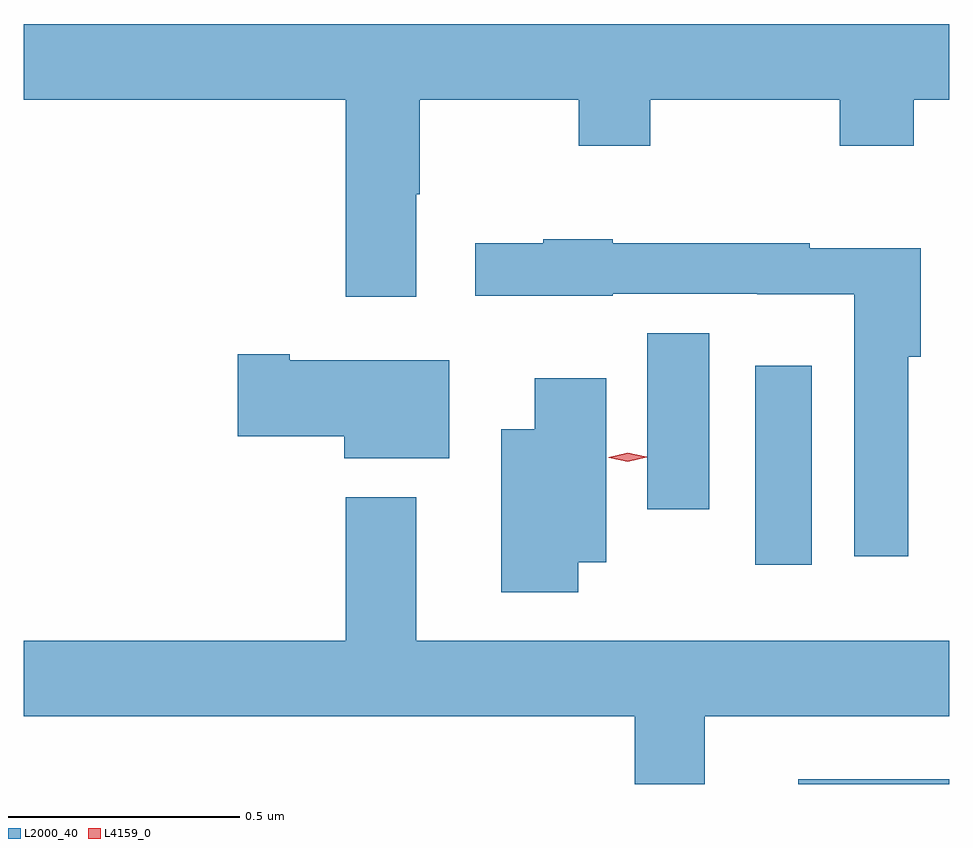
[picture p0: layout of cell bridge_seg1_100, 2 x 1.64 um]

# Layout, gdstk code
import gdstk
lib = gdstk.Library(unit=1e-6, precision=1e-09)
def R(c, l, rs):  # rectangles x0, y0, x1, y1
    for r in rs: c.add(gdstk.rectangle(r[:2], r[2:], *l))
def P(c, l, *ps):  # polygons
    for p in ps: c.add(gdstk.Polygon(p, *l))
L2000_40 = (2000, 40)
L4159_0 = (4159, 0)

bridge_seg1_100 = lib.new_cell('bridge_seg1_100')
R(bridge_seg1_100, L2000_40, [(311.975,523.614,312.301,523.624), (311.882,524.088,312.004,524.518), (311.648,524.208,311.782,524.588)])
P(bridge_seg1_100, L2000_40, [(311.149,524.888),(311.157,524.888),(311.157,525.092),(311.5,525.092),(311.5,524.993),(311.655,524.993),(311.655,525.092),(312.064,525.092),(312.064,524.993),(312.224,524.993),(312.224,525.092),(312.301,525.092),(312.301,525.256),(310.301,525.256),(310.301,525.092),(310.997,525.092),(310.997,524.667),(311.149,524.667)],
  [(312.212,524.537),(312.239,524.537),(312.239,524.772),(311.999,524.772),(311.999,524.782),(311.574,524.782),(311.574,524.791),(311.424,524.791),(311.424,524.782),(311.277,524.782),(311.277,524.669),(311.574,524.669),(311.574,524.673),(311.886,524.673),(311.886,524.672),(312.096,524.672),(312.096,524.106),(312.212,524.106)],
  [(311.221,524.53),(310.876,524.53),(310.876,524.543),(310.764,524.543),(310.764,524.365),(310.994,524.365),(310.994,524.318),(311.221,524.318)],
  [(311.499,524.093),(311.56,524.093),(311.56,524.491),(311.405,524.491),(311.405,524.38),(311.333,524.38),(311.333,524.028),(311.499,524.028)],
  [(311.773,523.76),(312.301,523.76),(312.301,523.924),(311.149,523.924),(311.149,524.233),(310.997,524.233),(310.997,523.924),(310.301,523.924),(310.301,523.76),(311.621,523.76),(311.621,523.614),(311.773,523.614)])
P(bridge_seg1_100, L4159_0, [(311.606,524.31),(311.565,524.319),(311.565,524.319),(311.565,524.32),(311.606,524.33),(311.647,524.321),(311.647,524.321),(311.647,524.32)])

lib.write_gds('bridge_seg1_100.gds')
